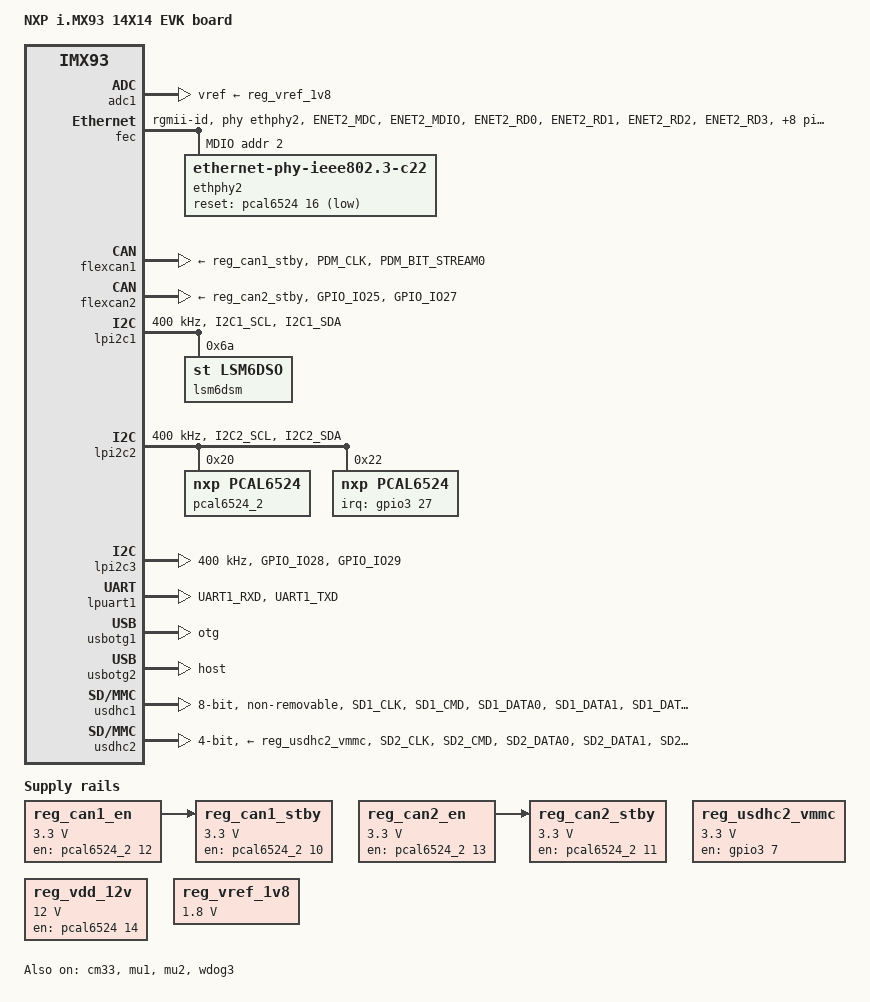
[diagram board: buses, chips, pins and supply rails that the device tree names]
// SPDX-License-Identifier: (GPL-2.0+ OR MIT)
/*
 * Copyright 2024 NXP
 */

/dts-v1/;

#include <dt-bindings/usb/pd.h>
#include "imx93.dtsi"

/ {
	model = "NXP i.MX93 14X14 EVK board";
	compatible = "fsl,imx93-14x14-evk", "fsl,imx93";

	chosen {
		stdout-path = &lpuart1;
	};

	reserved-memory {
		#address-cells = <2>;
		#size-cells = <2>;
		ranges;

		linux,cma {
			compatible = "shared-dma-pool";
			reusable;
			alloc-ranges = <0 0x80000000 0 0x40000000>;
			size = <0 0x10000000>;
			linux,cma-default;
		};

		vdev0vring0: vdev0vring0@a4000000 {
			reg = <0 0xa4000000 0 0x8000>;
			no-map;
		};

		vdev0vring1: vdev0vring1@a4008000 {
			reg = <0 0xa4008000 0 0x8000>;
			no-map;
		};

		vdev1vring0: vdev1vring0@a4010000 {
			reg = <0 0xa4010000 0 0x8000>;
			no-map;
		};

		vdev1vring1: vdev1vring1@a4018000 {
			reg = <0 0xa4018000 0 0x8000>;
			no-map;
		};

		rsc_table: rsc-table@2021e000 {
			reg = <0 0x2021e000 0 0x1000>;
			no-map;
		};

		vdevbuffer: vdevbuffer@a4020000 {
			compatible = "shared-dma-pool";
			reg = <0 0xa4020000 0 0x100000>;
			no-map;
		};
	};

	reg_can1_stby: regulator-can1-stby {
		compatible = "regulator-fixed";
		regulator-name = "can1-stby";
		regulator-min-microvolt = <3300000>;
		regulator-max-microvolt = <3300000>;
		gpio = <&pcal6524_2 10 GPIO_ACTIVE_HIGH>;
		enable-active-high;
		vin-supply = <&reg_can1_en>;
	};

	reg_can1_en: regulator-can1-en {
		compatible = "regulator-fixed";
		regulator-name = "can1-en";
		regulator-min-microvolt = <3300000>;
		regulator-max-microvolt = <3300000>;
		gpio = <&pcal6524_2 12 GPIO_ACTIVE_HIGH>;
		enable-active-high;
	};

	reg_can2_stby: regulator-can2-stby {
		compatible = "regulator-fixed";
		regulator-name = "can2-stby";
		regulator-min-microvolt = <3300000>;
		regulator-max-microvolt = <3300000>;
		gpio = <&pcal6524_2 11 GPIO_ACTIVE_HIGH>;
		enable-active-high;
		vin-supply = <&reg_can2_en>;
	};

	reg_can2_en: regulator-can2-en {
		compatible = "regulator-fixed";
		regulator-name = "can2-en";
		regulator-min-microvolt = <3300000>;
		regulator-max-microvolt = <3300000>;
		gpio = <&pcal6524_2 13 GPIO_ACTIVE_HIGH>;
		enable-active-high;
	};

	reg_usdhc2_vmmc: regulator-usdhc2 {
		compatible = "regulator-fixed";
		pinctrl-names = "default";
		pinctrl-0 = <&pinctrl_reg_usdhc2_vmmc>;
		regulator-name = "VSD_3V3";
		regulator-min-microvolt = <3300000>;
		regulator-max-microvolt = <3300000>;
		gpio = <&gpio3 7 GPIO_ACTIVE_HIGH>;
		enable-active-high;
		off-on-delay-us = <12000>;
	};

	reg_vdd_12v: regulator-vdd-12v {
		compatible = "regulator-fixed";
		regulator-name = "reg_vdd_12v";
		regulator-min-microvolt = <12000000>;
		regulator-max-microvolt = <12000000>;
		gpio = <&pcal6524 14 GPIO_ACTIVE_HIGH>;
		enable-active-high;
	};

	reg_vref_1v8: regulator-adc-vref {
		compatible = "regulator-fixed";
		regulator-name = "vref_1v8";
		regulator-min-microvolt = <1800000>;
		regulator-max-microvolt = <1800000>;
	};
};

&adc1 {
	vref-supply = <&reg_vref_1v8>;
	status = "okay";
};

&cm33 {
	mbox-names = "tx", "rx", "rxdb";
	mboxes = <&mu1 0 1>,
		 <&mu1 1 1>,
		 <&mu1 3 1>;
	memory-region = <&vdevbuffer>, <&vdev0vring0>, <&vdev0vring1>,
			<&vdev1vring0>, <&vdev1vring1>, <&rsc_table>;
	status = "okay";
};

&fec {
	pinctrl-names = "default";
	pinctrl-0 = <&pinctrl_fec>;
	phy-mode = "rgmii-id";
	phy-handle = <&ethphy2>;
	fsl,magic-packet;
	status = "okay";

	mdio {
		#address-cells = <1>;
		#size-cells = <0>;
		clock-frequency = <5000000>;

		ethphy2: ethernet-phy@2 {
			compatible = "ethernet-phy-ieee802.3-c22";
			reg = <2>;
			eee-broken-1000t;
			reset-gpios = <&pcal6524 16 GPIO_ACTIVE_LOW>;
			reset-assert-us = <10000>;
			reset-deassert-us = <80000>;
			realtek,clkout-disable;
		};
	};
};

&flexcan1 {
	pinctrl-names = "default";
	pinctrl-0 = <&pinctrl_flexcan1>;
	xceiver-supply = <&reg_can1_stby>;
	status = "okay";
};

&flexcan2 {
	pinctrl-names = "default";
	pinctrl-0 = <&pinctrl_flexcan2>;
	xceiver-supply = <&reg_can2_stby>;
	status = "okay";
};

&lpi2c1 {
	clock-frequency = <400000>;
	pinctrl-names = "default";
	pinctrl-0 = <&pinctrl_lpi2c1>;
	status = "okay";

	lsm6dsm@6a {
		compatible = "st,lsm6dso";
		reg = <0x6a>;
	};
};

&lpi2c2 {
	clock-frequency = <400000>;
	pinctrl-names = "default";
	pinctrl-0 = <&pinctrl_lpi2c2>;
	status = "okay";

	pcal6524_2: gpio@20 {
		compatible = "nxp,pcal6524";
		reg = <0x20>;
		gpio-controller;
		#gpio-cells = <2>;
	};

	pcal6524: gpio@22 {
		compatible = "nxp,pcal6524";
		pinctrl-names = "default";
		pinctrl-0 = <&pinctrl_pcal6524>;
		reg = <0x22>;
		gpio-controller;
		#gpio-cells = <2>;
		interrupt-controller;
		#interrupt-cells = <2>;
		interrupt-parent = <&gpio3>;
		interrupts = <27 IRQ_TYPE_LEVEL_LOW>;
	};
};

&lpi2c3 {
	clock-frequency = <400000>;
	pinctrl-names = "default";
	pinctrl-0 = <&pinctrl_lpi2c3>;
	status = "okay";
};

&lpuart1 { /* console */
	pinctrl-names = "default";
	pinctrl-0 = <&pinctrl_uart1>;
	status = "okay";
};

&mu1 {
	status = "okay";
};

&mu2 {
	status = "okay";
};

&usbotg1 {
	dr_mode = "otg";
	hnp-disable;
	srp-disable;
	adp-disable;
	disable-over-current;
	samsung,picophy-pre-emp-curr-control = <3>;
	samsung,picophy-dc-vol-level-adjust = <7>;
	status = "okay";
};

&usbotg2 {
	dr_mode = "host";
	disable-over-current;
	samsung,picophy-pre-emp-curr-control = <3>;
	samsung,picophy-dc-vol-level-adjust = <7>;
	status = "okay";
};

&usdhc1 {
	pinctrl-names = "default", "state_100mhz", "state_200mhz";
	pinctrl-0 = <&pinctrl_usdhc1>;
	pinctrl-1 = <&pinctrl_usdhc1_100mhz>;
	pinctrl-2 = <&pinctrl_usdhc1_200mhz>;
	bus-width = <8>;
	non-removable;
	status = "okay";
};

&usdhc2 {
	pinctrl-names = "default", "state_100mhz", "state_200mhz";
	pinctrl-0 = <&pinctrl_usdhc2>, <&pinctrl_usdhc2_gpio>;
	pinctrl-1 = <&pinctrl_usdhc2_100mhz>, <&pinctrl_usdhc2_gpio>;
	pinctrl-2 = <&pinctrl_usdhc2_200mhz>, <&pinctrl_usdhc2_gpio>;
	cd-gpios = <&gpio3 00 GPIO_ACTIVE_LOW>;
	vmmc-supply = <&reg_usdhc2_vmmc>;
	bus-width = <4>;
	no-mmc;
	status = "okay";
};

&wdog3 {
	status = "okay";
};

&iomuxc {
	pinctrl_flexcan1: flexcan1grp {
		fsl,pins = <
			MX93_PAD_PDM_CLK__CAN1_TX		0x139e
			MX93_PAD_PDM_BIT_STREAM0__CAN1_RX	0x139e
		>;
	};

	pinctrl_flexcan2: flexcan2grp {
		fsl,pins = <
			MX93_PAD_GPIO_IO25__CAN2_TX	0x139e
			MX93_PAD_GPIO_IO27__CAN2_RX	0x139e
		>;
	};

	pinctrl_lpi2c1: lpi2c1grp {
		fsl,pins = <
			MX93_PAD_I2C1_SCL__LPI2C1_SCL			0x40000b9e
			MX93_PAD_I2C1_SDA__LPI2C1_SDA			0x40000b9e
		>;
	};

	pinctrl_lpi2c2: lpi2c2grp {
		fsl,pins = <
			MX93_PAD_I2C2_SCL__LPI2C2_SCL			0x40000b9e
			MX93_PAD_I2C2_SDA__LPI2C2_SDA			0x40000b9e
		>;
	};

	pinctrl_lpi2c3: lpi2c3grp {
		fsl,pins = <
			MX93_PAD_GPIO_IO28__LPI2C3_SDA			0x40000b9e
			MX93_PAD_GPIO_IO29__LPI2C3_SCL			0x40000b9e
		>;
	};

	pinctrl_pcal6524: pcal6524grp {
		fsl,pins = <
			MX93_PAD_CCM_CLKO2__GPIO3_IO27			0x31e
		>;
	};

	pinctrl_fec: fecgrp {
		fsl,pins = <
			MX93_PAD_ENET2_MDC__ENET1_MDC			0x57e
			MX93_PAD_ENET2_MDIO__ENET1_MDIO			0x57e
			MX93_PAD_ENET2_RD0__ENET1_RGMII_RD0		0x57e
			MX93_PAD_ENET2_RD1__ENET1_RGMII_RD1		0x57e
			MX93_PAD_ENET2_RD2__ENET1_RGMII_RD2		0x57e
			MX93_PAD_ENET2_RD3__ENET1_RGMII_RD3		0x57e
			MX93_PAD_ENET2_RXC__ENET1_RGMII_RXC		0x58e
			MX93_PAD_ENET2_RX_CTL__ENET1_RGMII_RX_CTL	0x57e
			MX93_PAD_ENET2_TD0__ENET1_RGMII_TD0		0x57e
			MX93_PAD_ENET2_TD1__ENET1_RGMII_TD1		0x57e
			MX93_PAD_ENET2_TD2__ENET1_RGMII_TD2		0x57e
			MX93_PAD_ENET2_TD3__ENET1_RGMII_TD3		0x57e
			MX93_PAD_ENET2_TXC__ENET1_RGMII_TXC		0x58e
			MX93_PAD_ENET2_TX_CTL__ENET1_RGMII_TX_CTL	0x57e
		>;
	};

	pinctrl_uart1: uart1grp {
		fsl,pins = <
			MX93_PAD_UART1_RXD__LPUART1_RX			0x31e
			MX93_PAD_UART1_TXD__LPUART1_TX			0x31e
		>;
	};

	pinctrl_uart5: uart5grp {
		fsl,pins = <
			MX93_PAD_DAP_TDO_TRACESWO__LPUART5_TX	0x31e
			MX93_PAD_DAP_TDI__LPUART5_RX		0x31e
			MX93_PAD_DAP_TMS_SWDIO__LPUART5_RTS_B	0x31e
			MX93_PAD_DAP_TCLK_SWCLK__LPUART5_CTS_B	0x31e
		>;
	};

	/* need to config the SION for data and cmd pad, refer to ERR052021 */
	pinctrl_usdhc1: usdhc1grp {
		fsl,pins = <
			MX93_PAD_SD1_CLK__USDHC1_CLK		0x1582
			MX93_PAD_SD1_CMD__USDHC1_CMD		0x40001382
			MX93_PAD_SD1_DATA0__USDHC1_DATA0	0x40001382
			MX93_PAD_SD1_DATA1__USDHC1_DATA1	0x40001382
			MX93_PAD_SD1_DATA2__USDHC1_DATA2	0x40001382
			MX93_PAD_SD1_DATA3__USDHC1_DATA3	0x40001382
			MX93_PAD_SD1_DATA4__USDHC1_DATA4	0x40001382
			MX93_PAD_SD1_DATA5__USDHC1_DATA5	0x40001382
			MX93_PAD_SD1_DATA6__USDHC1_DATA6	0x40001382
			MX93_PAD_SD1_DATA7__USDHC1_DATA7	0x40001382
			MX93_PAD_SD1_STROBE__USDHC1_STROBE	0x1582
		>;
	};

	/* need to config the SION for data and cmd pad, refer to ERR052021 */
	pinctrl_usdhc1_100mhz: usdhc1-100mhzgrp {
		fsl,pins = <
			MX93_PAD_SD1_CLK__USDHC1_CLK		0x158e
			MX93_PAD_SD1_CMD__USDHC1_CMD		0x4000138e
			MX93_PAD_SD1_DATA0__USDHC1_DATA0	0x4000138e
			MX93_PAD_SD1_DATA1__USDHC1_DATA1	0x4000138e
			MX93_PAD_SD1_DATA2__USDHC1_DATA2	0x4000138e
			MX93_PAD_SD1_DATA3__USDHC1_DATA3	0x4000138e
			MX93_PAD_SD1_DATA4__USDHC1_DATA4	0x4000138e
			MX93_PAD_SD1_DATA5__USDHC1_DATA5	0x4000138e
			MX93_PAD_SD1_DATA6__USDHC1_DATA6	0x4000138e
			MX93_PAD_SD1_DATA7__USDHC1_DATA7	0x4000138e
			MX93_PAD_SD1_STROBE__USDHC1_STROBE	0x158e
		>;
	};

	/* need to config the SION for data and cmd pad, refer to ERR052021 */
	pinctrl_usdhc1_200mhz: usdhc1-200mhzgrp {
		fsl,pins = <
			MX93_PAD_SD1_CLK__USDHC1_CLK		0x15fe
			MX93_PAD_SD1_CMD__USDHC1_CMD		0x400013fe
			MX93_PAD_SD1_DATA0__USDHC1_DATA0	0x400013fe
			MX93_PAD_SD1_DATA1__USDHC1_DATA1	0x400013fe
			MX93_PAD_SD1_DATA2__USDHC1_DATA2	0x400013fe
			MX93_PAD_SD1_DATA3__USDHC1_DATA3	0x400013fe
			MX93_PAD_SD1_DATA4__USDHC1_DATA4	0x400013fe
			MX93_PAD_SD1_DATA5__USDHC1_DATA5	0x400013fe
			MX93_PAD_SD1_DATA6__USDHC1_DATA6	0x400013fe
			MX93_PAD_SD1_DATA7__USDHC1_DATA7	0x400013fe
			MX93_PAD_SD1_STROBE__USDHC1_STROBE	0x15fe
		>;
	};

	pinctrl_reg_usdhc2_vmmc: regusdhc2vmmcgrp {
		fsl,pins = <
			MX93_PAD_SD2_RESET_B__GPIO3_IO07	0x31e
		>;
	};

	pinctrl_usdhc2_gpio: usdhc2gpiogrp {
		fsl,pins = <
			MX93_PAD_SD2_CD_B__GPIO3_IO00		0x31e
		>;
	};

	/* need to config the SION for data and cmd pad, refer to ERR052021 */
	pinctrl_usdhc2: usdhc2grp {
		fsl,pins = <
			MX93_PAD_SD2_CLK__USDHC2_CLK		0x1582
			MX93_PAD_SD2_CMD__USDHC2_CMD		0x40001382
			MX93_PAD_SD2_DATA0__USDHC2_DATA0	0x40001382
			MX93_PAD_SD2_DATA1__USDHC2_DATA1	0x40001382
			MX93_PAD_SD2_DATA2__USDHC2_DATA2	0x40001382
			MX93_PAD_SD2_DATA3__USDHC2_DATA3	0x40001382
			MX93_PAD_SD2_VSELECT__USDHC2_VSELECT	0x51e
		>;
	};

	/* need to config the SION for data and cmd pad, refer to ERR052021 */
	pinctrl_usdhc2_100mhz: usdhc2-100mhzgrp {
		fsl,pins = <
			MX93_PAD_SD2_CLK__USDHC2_CLK		0x158e
			MX93_PAD_SD2_CMD__USDHC2_CMD		0x4000138e
			MX93_PAD_SD2_DATA0__USDHC2_DATA0	0x4000138e
			MX93_PAD_SD2_DATA1__USDHC2_DATA1	0x4000138e
			MX93_PAD_SD2_DATA2__USDHC2_DATA2	0x4000138e
			MX93_PAD_SD2_DATA3__USDHC2_DATA3	0x4000138e
			MX93_PAD_SD2_VSELECT__USDHC2_VSELECT	0x51e
		>;
	};

	/* need to config the SION for data and cmd pad, refer to ERR052021 */
	pinctrl_usdhc2_200mhz: usdhc2-200mhzgrp {
		fsl,pins = <
			MX93_PAD_SD2_CLK__USDHC2_CLK		0x15fe
			MX93_PAD_SD2_CMD__USDHC2_CMD		0x400013fe
			MX93_PAD_SD2_DATA0__USDHC2_DATA0	0x400013fe
			MX93_PAD_SD2_DATA1__USDHC2_DATA1	0x400013fe
			MX93_PAD_SD2_DATA2__USDHC2_DATA2	0x400013fe
			MX93_PAD_SD2_DATA3__USDHC2_DATA3	0x400013fe
			MX93_PAD_SD2_VSELECT__USDHC2_VSELECT	0x51e
		>;
	};
};
